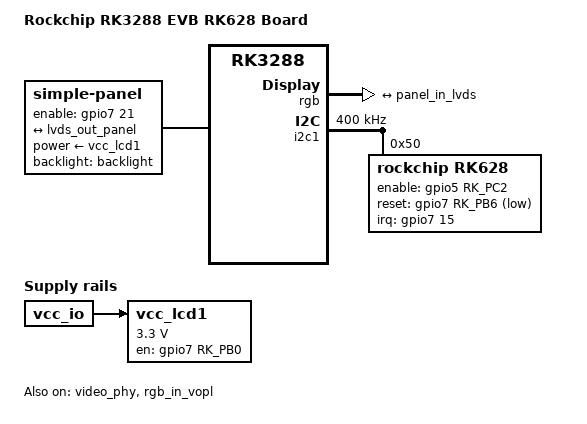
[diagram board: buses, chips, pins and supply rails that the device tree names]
// SPDX-License-Identifier: (GPL-2.0+ OR MIT)
// Copyright (c) 2020 Fuzhou Rockchip Electronics Co., Ltd

/dts-v1/;
#include "rk3288-evb-rk628.dtsi"

/ {
	model = "Rockchip RK3288 EVB RK628 Board";
	compatible = "rockchip,rk3288-evb-rk628", "rockchip,rk3288";

	chosen {
		bootargs = "rootwait earlycon=uart8250,mmio32,0xff690000 vmalloc=496M swiotlb=1 console=ttyFIQ0 androidboot.baseband=N/A androidboot.veritymode=enforcing androidboot.hardware=rk30board androidboot.console=ttyFIQ0 init=/init kpti=0";
	};

	vcc_lcd1: vcc-lcd1 {
		compatible = "regulator-fixed";
		regulator-name = "vcc_lcd1";
		regulator-min-microvolt = <3300000>;
		regulator-max-microvolt = <3300000>;
		regulator-boot-on;
		gpio = <&gpio7 RK_PB0 GPIO_ACTIVE_HIGH>;
		enable-active-high;
		vin-supply = <&vcc_io>;
	};

	panel {
		compatible = "simple-panel";
		backlight = <&backlight>;
		power-supply = <&vcc_lcd1>;
		enable-gpios = <&gpio7 21 GPIO_ACTIVE_HIGH>;
		prepare-delay-ms = <120>;
		enable-delay-ms = <120>;
		disable-delay-ms = <120>;
		unprepare-delay-ms = <20>;
		status = "okay";

		display-timings {
			native-mode = <&timing0>;

			timing0: timing0 {
				clock-frequency = <148500000>;
				hactive = <1920>;
				vactive = <1080>;
				hback-porch = <148>;
				hfront-porch = <88>;
				vback-porch = <36>;
				vfront-porch = <4>;
				hsync-len = <44>;
				vsync-len = <5>;
				hsync-active = <0>;
				vsync-active = <0>;
				de-active = <0>;
				pixelclk-active = <0>;
			};
		};

		port {
			panel_in_lvds: endpoint {
				remote-endpoint = <&lvds_out_panel>;
			};
		};
	};

};

&backlight {
	enable-gpios = <&gpio7 2 GPIO_ACTIVE_HIGH>;
};

&firmware_android {
	compatible = "android,firmware";
	boot_devices = "ff0f0000.dwmmc";

	vbmeta {
		compatible = "android,vbmeta";
		parts = "vbmeta,boot,system,vendor,dtbo";
	};

	fstab {
		compatible = "android,fstab";

		vendor {
			compatible = "android,vendor";
			dev = "/dev/block/by-name/vendor";
			type = "ext4";
			mnt_flags = "ro,barrier=1,inode_readahead_blks=8";
			fsmgr_flags = "wait,avb";
		};
	};
};

&rgb {
	status = "okay";

	ports {
		port@1 {
			reg = <1>;

			lvds_out_panel: endpoint {
				remote-endpoint = <&panel_in_lvds>;
			};
		};
	};
};

&i2c1 {
	clock-frequency = <400000>;
	status = "okay";

	rk628: rk628@50 {
		compatible = "rockchip,rk628";
		reg = <0x50>;
		pinctrl-names = "default";
		pinctrl-0 = <&test_clkout>;
		assigned-clocks = <&cru SCLK_TESTOUT_SRC>;
		assigned-clock-parents = <&xin24m>;
		clocks = <&cru SCLK_TESTOUT>;
		clock-names = "soc_24M";
		interrupt-parent = <&gpio7>;
		interrupts = <15 IRQ_TYPE_LEVEL_HIGH>;
		enable-gpios = <&gpio5 RK_PC2 GPIO_ACTIVE_HIGH>;
		reset-gpios = <&gpio7 RK_PB6 GPIO_ACTIVE_LOW>;
		//panel-enable-gpios = <&gpio7 RK_PA2 GPIO_ACTIVE_HIGH>;
		status = "okay";

		rk628,rgb-in;

		rk628-gvi {
			/* "rgb666"
			 * "rgb888"
			 * "rgb101010"
			 * "yuyv8"
			 * "yuyv10"
			 */
			bus-format = "rgb888";
			gvi,lanes = <8>;
			//"rockchip,division-mode";
			//"rockchip, gvi-frm-rst";
			status = "okay";
		};

		display-timings {
			src-timing {
				clock-frequency = <148500000>;
				hactive = <1920>;
				vactive = <1080>;
				hback-porch = <148>;
				hfront-porch = <88>;
				vback-porch = <36>;
				vfront-porch = <4>;
				hsync-len = <44>;
				vsync-len = <5>;
				hsync-active = <0>;
				vsync-active = <0>;
				de-active = <0>;
				pixelclk-active = <0>;
			};

			dst-timing {
				clock-frequency = <594000000>;
				hactive = <3840>;
				vactive = <2160>;
				hback-porch = <296>;
				hfront-porch = <176>;
				vback-porch = <72>;
				vfront-porch = <8>;
				hsync-len = <88>;
				vsync-len = <10>;
				hsync-active = <0>;
				vsync-active = <0>;
				de-active = <0>;
				pixelclk-active = <0>;
			};
		};
	};
};

&video_phy {
	status = "okay";
};

&rgb_in_vopb {
	status = "disabled";
};

&rgb_in_vopl {
	status = "okay";
};

&route_rgb {
	connect = <&vopl_out_rgb>;
	status = "disabled";
};

&pinctrl {
	test {
		test_clkout: test-clkout {
			rockchip,pins = <0 17 RK_FUNC_1 &pcfg_pull_none>;
		};
	};
};
